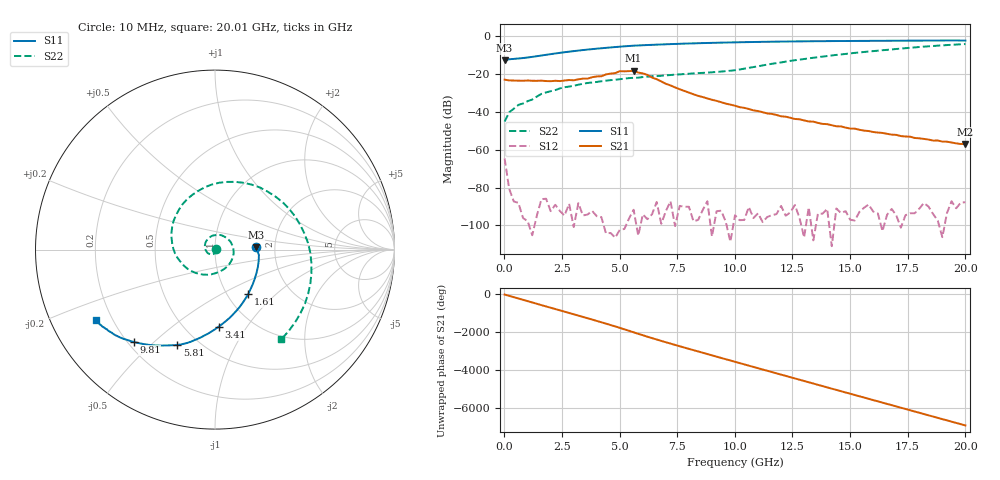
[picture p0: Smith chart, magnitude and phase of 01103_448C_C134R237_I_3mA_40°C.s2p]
!;Filter: kein Filter
!auto
!3/21/2019 9:27:07 AM
!3/21/2019 9:27:22 AM
!SP-Measurements Prober G4
!SP-Measurements Prober G4
!01103_448C
!134
!237
!12
!40
!-20
!0.00299959
!1.83
!0.38139174
!0.38139174
# Hz S  RI  R 50
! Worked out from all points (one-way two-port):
!   101 points, 10 MHz to 20.01 GHz, reference 50 ohm
!   highest |S21| = -18.27 dB at 5.61 GHz (marker M1); lowest = -57.0 dB at 20.01 GHz (marker M2)
!   lowest |S11| = -12.8 dB at 10 MHz (marker M3), VSWR 1.60, Z = 79.7 + j2 ohm
!   |S11| at or under -10 dB: start of sweep to 1.708 GHz
!   |S22| runs from -45.1 to -4.1 dB; largest |S21 - S12| = 0.12
!   S11 on the Smith chart (normalised r, x): 10 MHz: 1.59, +0.04; 1.61 GHz: 1.24, -0.69; 3.41 GHz: 0.71, -0.75; 5.81 GHz: 0.39, -0.61; 9.81 GHz: 0.22, -0.43; 20.01 GHz: 0.14, -0.27
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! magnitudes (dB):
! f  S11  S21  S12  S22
! 10 MHz  -12.8  -22.9  -64.6  -45.1
! 210 MHz  -12.2  -23.3  -80.7  -40.1
! 610 MHz  -11.8  -23.5  -88.1  -36.3
! 1.21 GHz  -10.9  -23.6  -105.2  -33.5
! 1.61 GHz  -10.2  -23.5  -86.1  -30.5
! 2.41 GHz  -8.8  -23.7  -92.4  -27.6
! 3.41 GHz  -7.3  -22.4  -94.7  -25.1
! 4.21 GHz  -6.3  -21.1  -95.6  -23.8
! 4.81 GHz  -5.7  -19.5  -106.5  -23.0
! 5.01 GHz  -5.5  -18.5  -102.3  -22.7
! 5.61 GHz  -5.0  -18.3  -91.7  -22.0
! 5.81 GHz  -4.9  -19.2  -105.4  -21.9
! 6.21 GHz  -4.6  -20.4  -96.7  -21.4
! 6.81 GHz  -4.3  -23.9  -99.1  -20.9
! 8.41 GHz  -3.7  -31.5  -97.1  -19.5
! 9.81 GHz  -3.3  -36.1  -108.6  -18.2
! 10.01 GHz  -3.2  -36.7  -94.6  -17.9
! 12.01 GHz  -2.8  -42.3  -89.7  -13.9
! 13.41 GHz  -2.6  -45.1  -107.9  -11.4
! 14.41 GHz  -2.5  -47.6  -91.0  -9.9
! 16.81 GHz  -2.4  -52.0  -91.3  -7.0
! 20.01 GHz  -2.3  -57.0  -87.7  -4.1
